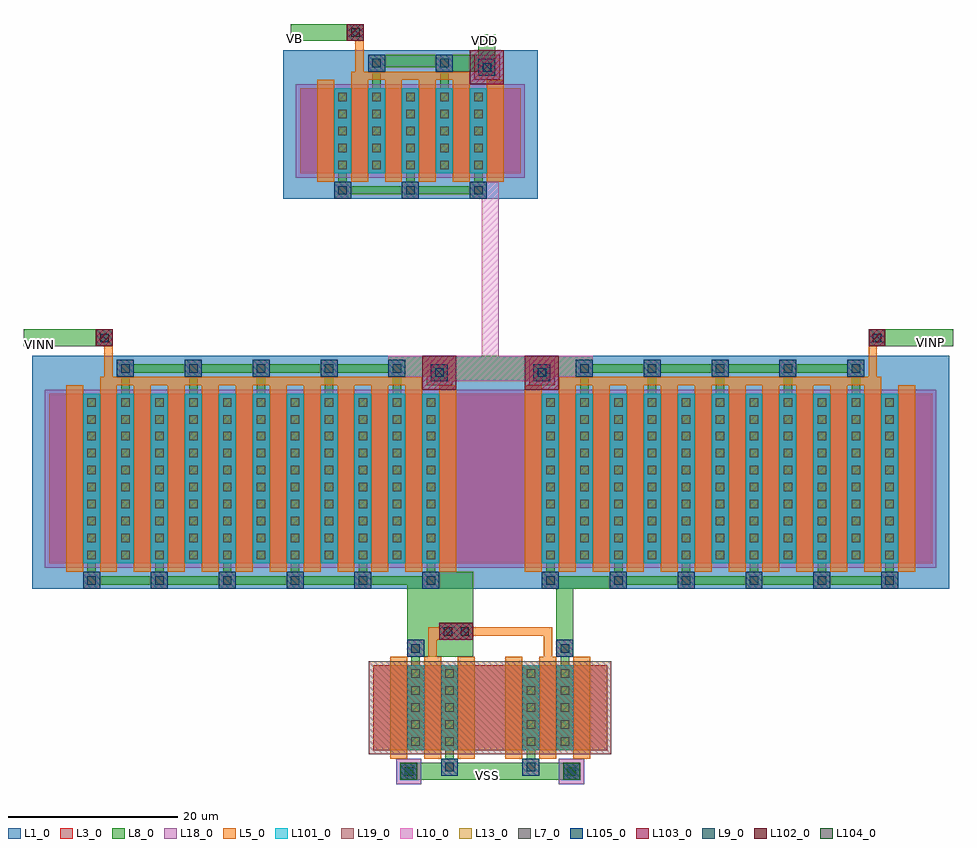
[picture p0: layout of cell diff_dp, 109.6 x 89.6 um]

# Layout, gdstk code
from math import pi, radians
import gdstk
lib = gdstk.Library(unit=1e-6, precision=1e-07)
def R(c, l, rs):  # rectangles x0, y0, x1, y1
    for r in rs: c.add(gdstk.rectangle(r[:2], r[2:], *l))
L1_0 = (1, 0)
L3_0 = (3, 0)
L5_0 = (5, 0)
L7_0 = (7, 0)
L8_0 = (8, 0)
L9_0 = (9, 0)
L10_0 = (10, 0)
L13_0 = (13, 0)
L18_0 = (18, 0)
L19_0 = (19, 0)
L101_0 = (101, 0)
L102_0 = (102, 0)
L103_0 = (103, 0)
L104_0 = (104, 0)
L105_0 = (105, 0)

dummy_poly_nfet_10 = lib.new_cell('dummy_poly_nfet_10')
R(dummy_poly_nfet_10, L3_0, [(0,3,4,13)])
R(dummy_poly_nfet_10, L19_0, [(-0.5,2.5,4,13.5)])
dummy_poly_nfet_10.add(gdstk.FlexPath([(3,3),(3,13)], 2, ends="extended", simple_path=True, layer=5, datatype=0))  # L5_0

dcont = lib.new_cell('dcont')
R(dcont, L3_0, [(-1,-1,1,1)])
R(dcont, L7_0, [(-0.5,-0.5,0.5,0.5)])
R(dcont, L8_0, [(-1,-1,1,1)])
R(dcont, L13_0, [(-0.5,-0.5,0.5,0.5)])
R(dcont, L101_0, [(-1,-1,1,1)])

via = lib.new_cell('Via')
R(via, L8_0, [(-1,-1,1,1)])
R(via, L9_0, [(-0.5,-0.5,0.5,0.5)])
R(via, L10_0, [(-1,-1,1,1)])
R(via, L13_0, [(-0.5,-0.5,0.5,0.5)])
R(via, L105_0, [(-1,-1,1,1)])

dcont1 = lib.new_cell('dcont1')
R(dcont1, L3_0, [(-1,-1,1,1)])
R(dcont1, L7_0, [(-0.5,-0.5,0.5,0.5)])
R(dcont1, L8_0, [(-1,-1,1,1)])
R(dcont1, L13_0, [(-0.5,-0.5,0.5,0.5)])
R(dcont1, L101_0, [(-1,-1,1,1)])

nsubcont = lib.new_cell('nsubcont')
R(nsubcont, L1_0, [(-2,-2,2,2)])
R(nsubcont, L19_0, [(-1.5,-1.5,1.5,1.5)])
R(nsubcont, L103_0, [(-2,-2,2,2)])
nsubcont.add(gdstk.Reference(dcont1, (0,0)))

pch_1 = lib.new_cell('Pch$1')
R(pch_1, L1_0, [(-2,-1.5,20,16)])
R(pch_1, L3_0, [(0,3,18,13)])
R(pch_1, L18_0, [(-0.5,2.5,18.5,13.5)])
pch_1.add(gdstk.FlexPath([(1,3),(1,13)], 2, ends="flush", simple_path=True, layer=8, datatype=0))  # L8_0
pch_1.add(gdstk.FlexPath([(5,3),(5,13)], 2, ends="flush", simple_path=True, layer=8, datatype=0))  # L8_0
pch_1.add(gdstk.FlexPath([(9,3),(9,13)], 2, ends="flush", simple_path=True, layer=8, datatype=0))  # L8_0
pch_1.add(gdstk.FlexPath([(13,3),(13,13)], 2, ends="flush", simple_path=True, layer=8, datatype=0))  # L8_0
pch_1.add(gdstk.FlexPath([(17,3),(17,13)], 2, ends="flush", simple_path=True, layer=8, datatype=0))  # L8_0
pch_1.add(gdstk.FlexPath([(1,12),(1,15)], 1, ends="flush", simple_path=True, layer=8, datatype=0))  # L8_0
pch_1.add(gdstk.FlexPath([(5,0),(5,4)], 1, ends="flush", simple_path=True, layer=8, datatype=0))  # L8_0
pch_1.add(gdstk.FlexPath([(9,12),(9,15)], 1, ends="flush", simple_path=True, layer=8, datatype=0))  # L8_0
pch_1.add(gdstk.FlexPath([(1,15),(9,15)], 1, ends="extended", simple_path=True, layer=8, datatype=0))  # L8_0
pch_1.add(gdstk.FlexPath([(13,0),(13,4)], 1, ends="flush", simple_path=True, layer=8, datatype=0))  # L8_0
pch_1.add(gdstk.FlexPath([(5,0),(13,0)], 1, ends="extended", simple_path=True, layer=8, datatype=0))  # L8_0
pch_1.add(gdstk.FlexPath([(17,12),(17,15)], 1, ends="flush", simple_path=True, layer=8, datatype=0))  # L8_0
pch_1.add(gdstk.FlexPath([(9,15),(17,15)], 1, ends="extended", simple_path=True, layer=8, datatype=0))  # L8_0
pch_1.add(gdstk.FlexPath([(3,3),(3,13)], 2, ends="extended", simple_path=True, layer=5, datatype=0))  # L5_0
pch_1.add(gdstk.FlexPath([(7,3),(7,13)], 2, ends="extended", simple_path=True, layer=5, datatype=0))  # L5_0
pch_1.add(gdstk.FlexPath([(11,3),(11,13)], 2, ends="extended", simple_path=True, layer=5, datatype=0))  # L5_0
pch_1.add(gdstk.FlexPath([(15,3),(15,13)], 2, ends="extended", simple_path=True, layer=5, datatype=0))  # L5_0
pch_1.add(gdstk.FlexPath([(2,1.5),(8,1.5)], 1, ends="flush", simple_path=True, layer=5, datatype=0))  # L5_0
pch_1.add(gdstk.FlexPath([(6,1.5),(12,1.5)], 1, ends="flush", simple_path=True, layer=5, datatype=0))  # L5_0
pch_1.add(gdstk.FlexPath([(10,1.5),(16,1.5)], 1, ends="flush", simple_path=True, layer=5, datatype=0))  # L5_0
pch_1.add(gdstk.Reference(dcont, (1,4)))
pch_1.add(gdstk.Reference(dcont, (1,6)))
pch_1.add(gdstk.Reference(dcont, (1,8)))
pch_1.add(gdstk.Reference(dcont, (1,10)))
pch_1.add(gdstk.Reference(dcont, (1,12)))
pch_1.add(gdstk.Reference(dcont, (5,4)))
pch_1.add(gdstk.Reference(dcont, (5,6)))
pch_1.add(gdstk.Reference(dcont, (5,8)))
pch_1.add(gdstk.Reference(dcont, (5,10)))
pch_1.add(gdstk.Reference(dcont, (5,12)))
pch_1.add(gdstk.Reference(dcont, (9,4)))
pch_1.add(gdstk.Reference(dcont, (9,6)))
pch_1.add(gdstk.Reference(dcont, (9,8)))
pch_1.add(gdstk.Reference(dcont, (9,10)))
pch_1.add(gdstk.Reference(dcont, (9,12)))
pch_1.add(gdstk.Reference(dcont, (13,4)))
pch_1.add(gdstk.Reference(dcont, (13,6)))
pch_1.add(gdstk.Reference(dcont, (13,8)))
pch_1.add(gdstk.Reference(dcont, (13,10)))
pch_1.add(gdstk.Reference(dcont, (13,12)))
pch_1.add(gdstk.Reference(dcont, (17,4)))
pch_1.add(gdstk.Reference(dcont, (17,6)))
pch_1.add(gdstk.Reference(dcont, (17,8)))
pch_1.add(gdstk.Reference(dcont, (17,10)))
pch_1.add(gdstk.Reference(dcont, (17,12)))
pch_1.add(gdstk.Reference(via, (1,15)))
pch_1.add(gdstk.Reference(via, (5,0)))
pch_1.add(gdstk.Reference(via, (9,15)))
pch_1.add(gdstk.Reference(via, (13,0)))
pch_1.add(gdstk.Reference(via, (17,15)))
pch_1.add(gdstk.Reference(nsubcont, (18,0.5)))
pch_1.add(gdstk.Reference(via, (18,0.5)))

psubcont = lib.new_cell('psubcont')
R(psubcont, L18_0, [(-1.5,-1.5,1.5,1.5)])
R(psubcont, L104_0, [(-1,-1,1,1)])
psubcont.add(gdstk.Reference(dcont1, (0,0)))

nch_1 = lib.new_cell('Nch$1')
R(nch_1, L3_0, [(0,3,6,13)])
R(nch_1, L19_0, [(-0.5,2.5,6.5,13.5)])
nch_1.add(gdstk.FlexPath([(1,3),(1,13)], 2, ends="flush", simple_path=True, layer=8, datatype=0))  # L8_0
nch_1.add(gdstk.FlexPath([(5,3),(5,13)], 2, ends="flush", simple_path=True, layer=8, datatype=0))  # L8_0
nch_1.add(gdstk.FlexPath([(1,1),(1,4)], 1, ends="flush", simple_path=True, layer=8, datatype=0))  # L8_0
nch_1.add(gdstk.FlexPath([(5,12),(5,15)], 1, ends="flush", simple_path=True, layer=8, datatype=0))  # L8_0
nch_1.add(gdstk.FlexPath([(3,3),(3,13)], 2, ends="extended", simple_path=True, layer=5, datatype=0))  # L5_0
nch_1.add(gdstk.Reference(dcont, (1,4)))
nch_1.add(gdstk.Reference(dcont, (1,6)))
nch_1.add(gdstk.Reference(dcont, (1,8)))
nch_1.add(gdstk.Reference(dcont, (1,10)))
nch_1.add(gdstk.Reference(dcont, (1,12)))
nch_1.add(gdstk.Reference(dcont, (5,4)))
nch_1.add(gdstk.Reference(dcont, (5,6)))
nch_1.add(gdstk.Reference(dcont, (5,8)))
nch_1.add(gdstk.Reference(dcont, (5,10)))
nch_1.add(gdstk.Reference(dcont, (5,12)))
nch_1.add(gdstk.Reference(via, (1,1)))
nch_1.add(gdstk.Reference(via, (5,15)))
nch_1.add(gdstk.Reference(psubcont, (5.8,0.5)))
nch_1.add(gdstk.Reference(via, (5.8,0.5)))

poly_contact = lib.new_cell('poly_contact')
R(poly_contact, L5_0, [(264.2,50.1,266.2,52.1)])
R(poly_contact, L7_0, [(264.7,50.6,265.7,51.6)])
R(poly_contact, L8_0, [(264.2,50.1,266.2,52.1)])
R(poly_contact, L9_0, [(264.7,50.6,265.7,51.6)])
R(poly_contact, L10_0, [(264.2,50.1,266.2,52.1)])
R(poly_contact, L102_0, [(264.2,50.1,266.2,52.1)])
R(poly_contact, L105_0, [(264.2,50.1,266.2,52.1)])

dummy_poly_pfet_10_l = lib.new_cell('dummy_poly_pfet_10_L')
R(dummy_poly_pfet_10_l, L1_0, [(-2,0,4,17.5)])
R(dummy_poly_pfet_10_l, L3_0, [(0,3,4,13)])
R(dummy_poly_pfet_10_l, L18_0, [(-0.5,2.5,4,13.5)])
dummy_poly_pfet_10_l.add(gdstk.FlexPath([(3,3),(3,13)], 2, ends="extended", simple_path=True, layer=5, datatype=0))  # L5_0

dummy_poly_pfet_20_l = lib.new_cell('dummy_poly_pfet_20_L')
R(dummy_poly_pfet_20_l, L1_0, [(-2,0,4,27.5)])
R(dummy_poly_pfet_20_l, L3_0, [(0,3,4,23)])
R(dummy_poly_pfet_20_l, L18_0, [(-0.5,2.5,4,23.5)])
dummy_poly_pfet_20_l.add(gdstk.FlexPath([(3,3),(3,23)], 2, ends="extended", simple_path=True, layer=5, datatype=0))  # L5_0

dummy_poly_pfet_20_r = lib.new_cell('dummy_poly_pfet_20_R')
R(dummy_poly_pfet_20_r, L1_0, [(2,0,8,27.5)])
R(dummy_poly_pfet_20_r, L3_0, [(2,3,6,23)])
R(dummy_poly_pfet_20_r, L18_0, [(2,2.5,6.5,23.5)])
dummy_poly_pfet_20_r.add(gdstk.FlexPath([(3,3),(3,23)], 2, ends="extended", simple_path=True, layer=5, datatype=0))  # L5_0

pch = lib.new_cell('Pch')
R(pch, L1_0, [(-2,-1.5,44,26)])
R(pch, L3_0, [(0,3,42,23)])
R(pch, L18_0, [(-0.5,2.5,42.5,23.5)])
pch.add(gdstk.FlexPath([(1,3),(1,23)], 2, ends="flush", simple_path=True, layer=8, datatype=0))  # L8_0
pch.add(gdstk.FlexPath([(5,3),(5,23)], 2, ends="flush", simple_path=True, layer=8, datatype=0))  # L8_0
pch.add(gdstk.FlexPath([(9,3),(9,23)], 2, ends="flush", simple_path=True, layer=8, datatype=0))  # L8_0
pch.add(gdstk.FlexPath([(13,3),(13,23)], 2, ends="flush", simple_path=True, layer=8, datatype=0))  # L8_0
pch.add(gdstk.FlexPath([(17,3),(17,23)], 2, ends="flush", simple_path=True, layer=8, datatype=0))  # L8_0
pch.add(gdstk.FlexPath([(21,3),(21,23)], 2, ends="flush", simple_path=True, layer=8, datatype=0))  # L8_0
pch.add(gdstk.FlexPath([(25,3),(25,23)], 2, ends="flush", simple_path=True, layer=8, datatype=0))  # L8_0
pch.add(gdstk.FlexPath([(29,3),(29,23)], 2, ends="flush", simple_path=True, layer=8, datatype=0))  # L8_0
pch.add(gdstk.FlexPath([(33,3),(33,23)], 2, ends="flush", simple_path=True, layer=8, datatype=0))  # L8_0
pch.add(gdstk.FlexPath([(37,3),(37,23)], 2, ends="flush", simple_path=True, layer=8, datatype=0))  # L8_0
pch.add(gdstk.FlexPath([(41,3),(41,23)], 2, ends="flush", simple_path=True, layer=8, datatype=0))  # L8_0
pch.add(gdstk.FlexPath([(1,22),(1,25)], 1, ends="flush", simple_path=True, layer=8, datatype=0))  # L8_0
pch.add(gdstk.FlexPath([(5,0),(5,4)], 1, ends="flush", simple_path=True, layer=8, datatype=0))  # L8_0
pch.add(gdstk.FlexPath([(9,22),(9,25)], 1, ends="flush", simple_path=True, layer=8, datatype=0))  # L8_0
pch.add(gdstk.FlexPath([(1,25),(9,25)], 1, ends="extended", simple_path=True, layer=8, datatype=0))  # L8_0
pch.add(gdstk.FlexPath([(13,0),(13,4)], 1, ends="flush", simple_path=True, layer=8, datatype=0))  # L8_0
pch.add(gdstk.FlexPath([(5,0),(13,0)], 1, ends="extended", simple_path=True, layer=8, datatype=0))  # L8_0
pch.add(gdstk.FlexPath([(17,22),(17,25)], 1, ends="flush", simple_path=True, layer=8, datatype=0))  # L8_0
pch.add(gdstk.FlexPath([(9,25),(17,25)], 1, ends="extended", simple_path=True, layer=8, datatype=0))  # L8_0
pch.add(gdstk.FlexPath([(21,0),(21,4)], 1, ends="flush", simple_path=True, layer=8, datatype=0))  # L8_0
pch.add(gdstk.FlexPath([(13,0),(21,0)], 1, ends="extended", simple_path=True, layer=8, datatype=0))  # L8_0
pch.add(gdstk.FlexPath([(25,22),(25,25)], 1, ends="flush", simple_path=True, layer=8, datatype=0))  # L8_0
pch.add(gdstk.FlexPath([(17,25),(25,25)], 1, ends="extended", simple_path=True, layer=8, datatype=0))  # L8_0
pch.add(gdstk.FlexPath([(29,0),(29,4)], 1, ends="flush", simple_path=True, layer=8, datatype=0))  # L8_0
pch.add(gdstk.FlexPath([(21,0),(29,0)], 1, ends="extended", simple_path=True, layer=8, datatype=0))  # L8_0
pch.add(gdstk.FlexPath([(33,22),(33,25)], 1, ends="flush", simple_path=True, layer=8, datatype=0))  # L8_0
pch.add(gdstk.FlexPath([(25,25),(33,25)], 1, ends="extended", simple_path=True, layer=8, datatype=0))  # L8_0
pch.add(gdstk.FlexPath([(37,0),(37,4)], 1, ends="flush", simple_path=True, layer=8, datatype=0))  # L8_0
pch.add(gdstk.FlexPath([(29,0),(37,0)], 1, ends="extended", simple_path=True, layer=8, datatype=0))  # L8_0
pch.add(gdstk.FlexPath([(41,22),(41,25)], 1, ends="flush", simple_path=True, layer=8, datatype=0))  # L8_0
pch.add(gdstk.FlexPath([(33,25),(41,25)], 1, ends="extended", simple_path=True, layer=8, datatype=0))  # L8_0
pch.add(gdstk.FlexPath([(3,3),(3,23)], 2, ends="extended", simple_path=True, layer=5, datatype=0))  # L5_0
pch.add(gdstk.FlexPath([(7,3),(7,23)], 2, ends="extended", simple_path=True, layer=5, datatype=0))  # L5_0
pch.add(gdstk.FlexPath([(11,3),(11,23)], 2, ends="extended", simple_path=True, layer=5, datatype=0))  # L5_0
pch.add(gdstk.FlexPath([(15,3),(15,23)], 2, ends="extended", simple_path=True, layer=5, datatype=0))  # L5_0
pch.add(gdstk.FlexPath([(19,3),(19,23)], 2, ends="extended", simple_path=True, layer=5, datatype=0))  # L5_0
pch.add(gdstk.FlexPath([(23,3),(23,23)], 2, ends="extended", simple_path=True, layer=5, datatype=0))  # L5_0
pch.add(gdstk.FlexPath([(27,3),(27,23)], 2, ends="extended", simple_path=True, layer=5, datatype=0))  # L5_0
pch.add(gdstk.FlexPath([(31,3),(31,23)], 2, ends="extended", simple_path=True, layer=5, datatype=0))  # L5_0
pch.add(gdstk.FlexPath([(35,3),(35,23)], 2, ends="extended", simple_path=True, layer=5, datatype=0))  # L5_0
pch.add(gdstk.FlexPath([(39,3),(39,23)], 2, ends="extended", simple_path=True, layer=5, datatype=0))  # L5_0
pch.add(gdstk.FlexPath([(2,1.5),(8,1.5)], 1, ends="flush", simple_path=True, layer=5, datatype=0))  # L5_0
pch.add(gdstk.FlexPath([(6,1.5),(12,1.5)], 1, ends="flush", simple_path=True, layer=5, datatype=0))  # L5_0
pch.add(gdstk.FlexPath([(10,1.5),(16,1.5)], 1, ends="flush", simple_path=True, layer=5, datatype=0))  # L5_0
pch.add(gdstk.FlexPath([(14,1.5),(20,1.5)], 1, ends="flush", simple_path=True, layer=5, datatype=0))  # L5_0
pch.add(gdstk.FlexPath([(18,1.5),(24,1.5)], 1, ends="flush", simple_path=True, layer=5, datatype=0))  # L5_0
pch.add(gdstk.FlexPath([(22,1.5),(28,1.5)], 1, ends="flush", simple_path=True, layer=5, datatype=0))  # L5_0
pch.add(gdstk.FlexPath([(26,1.5),(32,1.5)], 1, ends="flush", simple_path=True, layer=5, datatype=0))  # L5_0
pch.add(gdstk.FlexPath([(30,1.5),(36,1.5)], 1, ends="flush", simple_path=True, layer=5, datatype=0))  # L5_0
pch.add(gdstk.FlexPath([(34,1.5),(40,1.5)], 1, ends="flush", simple_path=True, layer=5, datatype=0))  # L5_0
pch.add(gdstk.Reference(dcont, (1,12)))
pch.add(gdstk.Reference(dcont, (5,12)))
pch.add(gdstk.Reference(dcont, (9,12)))
pch.add(gdstk.Reference(dcont, (13,12)))
pch.add(gdstk.Reference(dcont, (17,12)))
pch.add(gdstk.Reference(dcont, (21,12)))
pch.add(gdstk.Reference(dcont, (25,12)))
pch.add(gdstk.Reference(dcont, (29,12)))
pch.add(gdstk.Reference(dcont, (33,12)))
pch.add(gdstk.Reference(dcont, (37,12)))
pch.add(gdstk.Reference(dcont, (41,12)))
pch.add(gdstk.Reference(dcont, (25,22)))
pch.add(gdstk.Reference(dcont, (25,14)))
pch.add(gdstk.Reference(dcont, (29,14)))
pch.add(gdstk.Reference(dcont, (29,16)))
pch.add(gdstk.Reference(dcont, (29,18)))
pch.add(gdstk.Reference(dcont, (29,20)))
pch.add(gdstk.Reference(dcont, (29,22)))
pch.add(gdstk.Reference(dcont, (25,16)))
pch.add(gdstk.Reference(dcont, (33,14)))
pch.add(gdstk.Reference(dcont, (33,16)))
pch.add(gdstk.Reference(dcont, (33,18)))
pch.add(gdstk.Reference(dcont, (33,20)))
pch.add(gdstk.Reference(dcont, (33,22)))
pch.add(gdstk.Reference(dcont, (25,18)))
pch.add(gdstk.Reference(dcont, (37,14)))
pch.add(gdstk.Reference(dcont, (37,16)))
pch.add(gdstk.Reference(dcont, (37,18)))
pch.add(gdstk.Reference(dcont, (37,20)))
pch.add(gdstk.Reference(dcont, (37,22)))
pch.add(gdstk.Reference(dcont, (25,20)))
pch.add(gdstk.Reference(dcont, (41,14)))
pch.add(gdstk.Reference(dcont, (41,16)))
pch.add(gdstk.Reference(dcont, (41,18)))
pch.add(gdstk.Reference(dcont, (41,20)))
pch.add(gdstk.Reference(dcont, (41,22)))
pch.add(gdstk.Reference(via, (25,25)))
pch.add(gdstk.Reference(via, (33,25)))
pch.add(gdstk.Reference(via, (41,25)))
pch.add(gdstk.Reference(dcont, (5,18)))
pch.add(gdstk.Reference(dcont, (5,20)))
pch.add(gdstk.Reference(dcont, (5,22)))
pch.add(gdstk.Reference(dcont, (1,16)))
pch.add(gdstk.Reference(dcont, (9,14)))
pch.add(gdstk.Reference(dcont, (9,16)))
pch.add(gdstk.Reference(dcont, (9,18)))
pch.add(gdstk.Reference(dcont, (9,20)))
pch.add(gdstk.Reference(dcont, (9,22)))
pch.add(gdstk.Reference(dcont, (1,18)))
pch.add(gdstk.Reference(dcont, (13,14)))
pch.add(gdstk.Reference(dcont, (13,16)))
pch.add(gdstk.Reference(dcont, (13,18)))
pch.add(gdstk.Reference(dcont, (13,20)))
pch.add(gdstk.Reference(dcont, (13,22)))
pch.add(gdstk.Reference(dcont, (1,20)))
pch.add(gdstk.Reference(dcont, (17,14)))
pch.add(gdstk.Reference(dcont, (17,16)))
pch.add(gdstk.Reference(dcont, (17,18)))
pch.add(gdstk.Reference(dcont, (17,20)))
pch.add(gdstk.Reference(dcont, (17,22)))
pch.add(gdstk.Reference(dcont, (1,22)))
pch.add(gdstk.Reference(dcont, (21,14)))
pch.add(gdstk.Reference(dcont, (21,16)))
pch.add(gdstk.Reference(dcont, (21,18)))
pch.add(gdstk.Reference(dcont, (21,20)))
pch.add(gdstk.Reference(dcont, (21,22)))
pch.add(gdstk.Reference(via, (1,25)))
pch.add(gdstk.Reference(via, (9,25)))
pch.add(gdstk.Reference(via, (17,25)))
pch.add(gdstk.Reference(dcont, (1,14)))
pch.add(gdstk.Reference(dcont, (5,14)))
pch.add(gdstk.Reference(dcont, (5,16)))
pch.add(gdstk.Reference(dcont, (1,4)))
pch.add(gdstk.Reference(dcont, (1,6)))
pch.add(gdstk.Reference(dcont, (21,4)))
pch.add(gdstk.Reference(dcont, (21,6)))
pch.add(gdstk.Reference(dcont, (21,8)))
pch.add(gdstk.Reference(dcont, (21,10)))
pch.add(gdstk.Reference(dcont, (13,4)))
pch.add(gdstk.Reference(dcont, (13,6)))
pch.add(gdstk.Reference(dcont, (13,8)))
pch.add(gdstk.Reference(dcont, (13,10)))
pch.add(gdstk.Reference(dcont, (5,4)))
pch.add(gdstk.Reference(dcont, (5,6)))
pch.add(gdstk.Reference(dcont, (9,4)))
pch.add(gdstk.Reference(dcont, (9,6)))
pch.add(gdstk.Reference(dcont, (9,8)))
pch.add(gdstk.Reference(dcont, (9,10)))
pch.add(gdstk.Reference(dcont, (17,4)))
pch.add(gdstk.Reference(dcont, (17,6)))
pch.add(gdstk.Reference(dcont, (17,8)))
pch.add(gdstk.Reference(via, (5,0)))
pch.add(gdstk.Reference(dcont, (17,10)))
pch.add(gdstk.Reference(via, (13,0)))
pch.add(gdstk.Reference(dcont, (5,8)))
pch.add(gdstk.Reference(via, (21,0)))
pch.add(gdstk.Reference(dcont, (5,10)))
pch.add(gdstk.Reference(dcont, (1,8)))
pch.add(gdstk.Reference(dcont, (1,10)))
pch.add(gdstk.Reference(dcont, (33,10)))
pch.add(gdstk.Reference(dcont, (41,4)))
pch.add(gdstk.Reference(dcont, (41,6)))
pch.add(gdstk.Reference(dcont, (41,8)))
pch.add(gdstk.Reference(dcont, (41,10)))
pch.add(gdstk.Reference(dcont, (29,8)))
pch.add(gdstk.Reference(dcont, (29,10)))
pch.add(gdstk.Reference(dcont, (25,8)))
pch.add(gdstk.Reference(dcont, (25,10)))
pch.add(gdstk.Reference(dcont, (25,4)))
pch.add(gdstk.Reference(dcont, (25,6)))
pch.add(gdstk.Reference(dcont, (37,4)))
pch.add(gdstk.Reference(dcont, (37,6)))
pch.add(gdstk.Reference(dcont, (37,8)))
pch.add(gdstk.Reference(dcont, (37,10)))
pch.add(gdstk.Reference(dcont, (29,4)))
pch.add(gdstk.Reference(dcont, (29,6)))
pch.add(gdstk.Reference(dcont, (33,4)))
pch.add(gdstk.Reference(via, (29,0)))
pch.add(gdstk.Reference(dcont, (33,6)))
pch.add(gdstk.Reference(via, (37,0)))
pch.add(gdstk.Reference(dcont, (33,8)))
pch.add(gdstk.Reference(nsubcont, (42,0.5)))
pch.add(gdstk.Reference(via, (42,0.5)))

dummy_poly_pfet_10_r = lib.new_cell('dummy_poly_pfet_10_R')
R(dummy_poly_pfet_10_r, L1_0, [(2,0,8,17.5)])
R(dummy_poly_pfet_10_r, L3_0, [(2,3,6,13)])
R(dummy_poly_pfet_10_r, L18_0, [(2,2.5,6.5,13.5)])
dummy_poly_pfet_10_r.add(gdstk.FlexPath([(3,3),(3,13)], 2, ends="extended", simple_path=True, layer=5, datatype=0))  # L5_0

diff_dp = lib.new_cell('diff_dp')
R(diff_dp, L1_0, [(207.3,23.5,215.6,51)])
R(diff_dp, L3_0, [(209.4,26.5,213.5,46.5)])
R(diff_dp, L5_0, [(205.1,17.5,205.4,18)])
R(diff_dp, L8_0, [(201.6,15.5,209.4,24.5), (217.5,23.5,225.5,25), (203.4,24.5,209.4,25.5), (205.9,48,217,51), (199.4,48.5,223.5,51), (199,86,205,86.5), (210,86,212,86.5)])
R(diff_dp, L10_0, [(205.9,48,217,51), (199.4,48.5,223.5,51)])
R(diff_dp, L18_0, [(209.9,26,213,47)])
R(diff_dp, L19_0, [(208.1,4,214.7,15)])
diff_dp.add(gdstk.FlexPath([(195,89.1),(187.9,89.1)], 2, ends="flush", simple_path=True, layer=8, datatype=0))  # L8_0
diff_dp.add(gdstk.FlexPath([(166.9,53.1),(156.4,53.1)], 2, ends="flush", simple_path=True, layer=8, datatype=0))  # L8_0
diff_dp.add(gdstk.FlexPath([(256,53.1),(266,53.1)], 2, ends="flush", simple_path=True, layer=8, datatype=0))  # L8_0
diff_dp.add(gdstk.FlexPath([(220.2,16.5),(220.2,24.9)], 2, ends="flush", simple_path=True, layer=8, datatype=0))  # L8_0
diff_dp.add(gdstk.FlexPath([(206,85.5),(211,85.5),(211,88.9)], 2, ends="flush", simple_path=True, layer=8, datatype=0))  # L8_0
diff_dp.add(gdstk.FlexPath([(220.3,2),(202.6,2)], 2, ends="flush", simple_path=True, layer=8, datatype=0))  # L8_0
diff_dp.add(gdstk.FlexPath([(204.4,16.5),(204.4,24.5)], 2, ends="flush", simple_path=True, layer=8, datatype=0))  # L8_0
diff_dp.add(gdstk.FlexPath([(209,70.5),(211.4,70.5),(211.4,48.5)], 2, ends="flush", simple_path=True, layer=10, datatype=0))  # L10_0
diff_dp.add(gdstk.FlexPath([(196,82.3),(196,88.6),(194.5,88.6)], 1, ends="flush", simple_path=True, layer=5, datatype=0))  # L5_0
diff_dp.add(gdstk.FlexPath([(166.4,46.3),(166.4,52.6)], 1, ends="flush", simple_path=True, layer=5, datatype=0))  # L5_0
diff_dp.add(gdstk.FlexPath([(256.5,46.3),(256.5,53.5)], 1, ends="flush", simple_path=True, layer=5, datatype=0))  # L5_0
diff_dp.add(gdstk.FlexPath([(204.6,14.4),(204.6,18.5),(208.9,18.5)], 1, ends="flush", simple_path=True, layer=5, datatype=0))  # L5_0
diff_dp.add(gdstk.FlexPath([(208.5,18.5),(218.2,18.5),(218.2,14)], 1, ends="flush", simple_path=True, layer=5, datatype=0))  # L5_0
diff_dp.add(gdstk.Reference(dummy_poly_nfet_10, (197.6,1.5)))
diff_dp.add(gdstk.Reference(dummy_poly_nfet_10, (225.2,17.5), rotation=pi))
diff_dp.add(gdstk.Reference(pch_1, (193,85.5), x_reflection=True))
diff_dp.add(gdstk.Reference(nch_1, (215.2,1.5)))
diff_dp.add(gdstk.Reference(nch_1, (207.6,1.5), rotation=pi, x_reflection=True))
diff_dp.add(gdstk.Reference(dummy_poly_nfet_10, (211.6,17.5), rotation=pi))
diff_dp.add(gdstk.Reference(dummy_poly_nfet_10, (211.2,1.5)))
diff_dp.add(gdstk.Reference(poly_contact, (-56.8,-32.6)))
diff_dp.add(gdstk.Reference(poly_contact, (-58.8,-32.6)))
diff_dp.add(gdstk.Reference(poly_contact, (-69.7,38)))
diff_dp.add(gdstk.Reference(poly_contact, (-8.2,2)))
diff_dp.add(gdstk.Reference(dummy_poly_pfet_10_l, (189,69.5)))
diff_dp.add(gdstk.Reference(dummy_poly_pfet_20_l, (159.4,23.5)))
diff_dp.add(gdstk.Reference(dummy_poly_pfet_20_r, (257.5,23.5)))
diff_dp.add(gdstk.Reference(dummy_poly_pfet_20_r, (203.4,23.5)))
diff_dp.add(gdstk.Reference(dummy_poly_pfet_20_l, (213.5,23.5)))
diff_dp.add(gdstk.Reference(pch, (163.4,49.5), x_reflection=True))
diff_dp.add(gdstk.Reference(pch, (259.5,49.5), rotation=pi))
diff_dp.add(gdstk.Reference(poly_contact, (-99.3,2)))
diff_dp.add(gdstk.Reference(dummy_poly_pfet_10_r, (209,69.5)))
diff_dp.add(gdstk.Label('VB', (188.3,88.4), layer=8, texttype=0))
diff_dp.add(gdstk.Label('VINN', (158.3,52.3), layer=8, texttype=0))
diff_dp.add(gdstk.Label('VINP', (263.3,52.5), layer=8, texttype=0))
diff_dp.add(gdstk.Label('VSS', (211.1,1.5), layer=8, texttype=0))
diff_dp.add(gdstk.Label('VDD', (210.7,88.2), layer=8, texttype=0))

lib.write_gds('diff_dp.gds')
